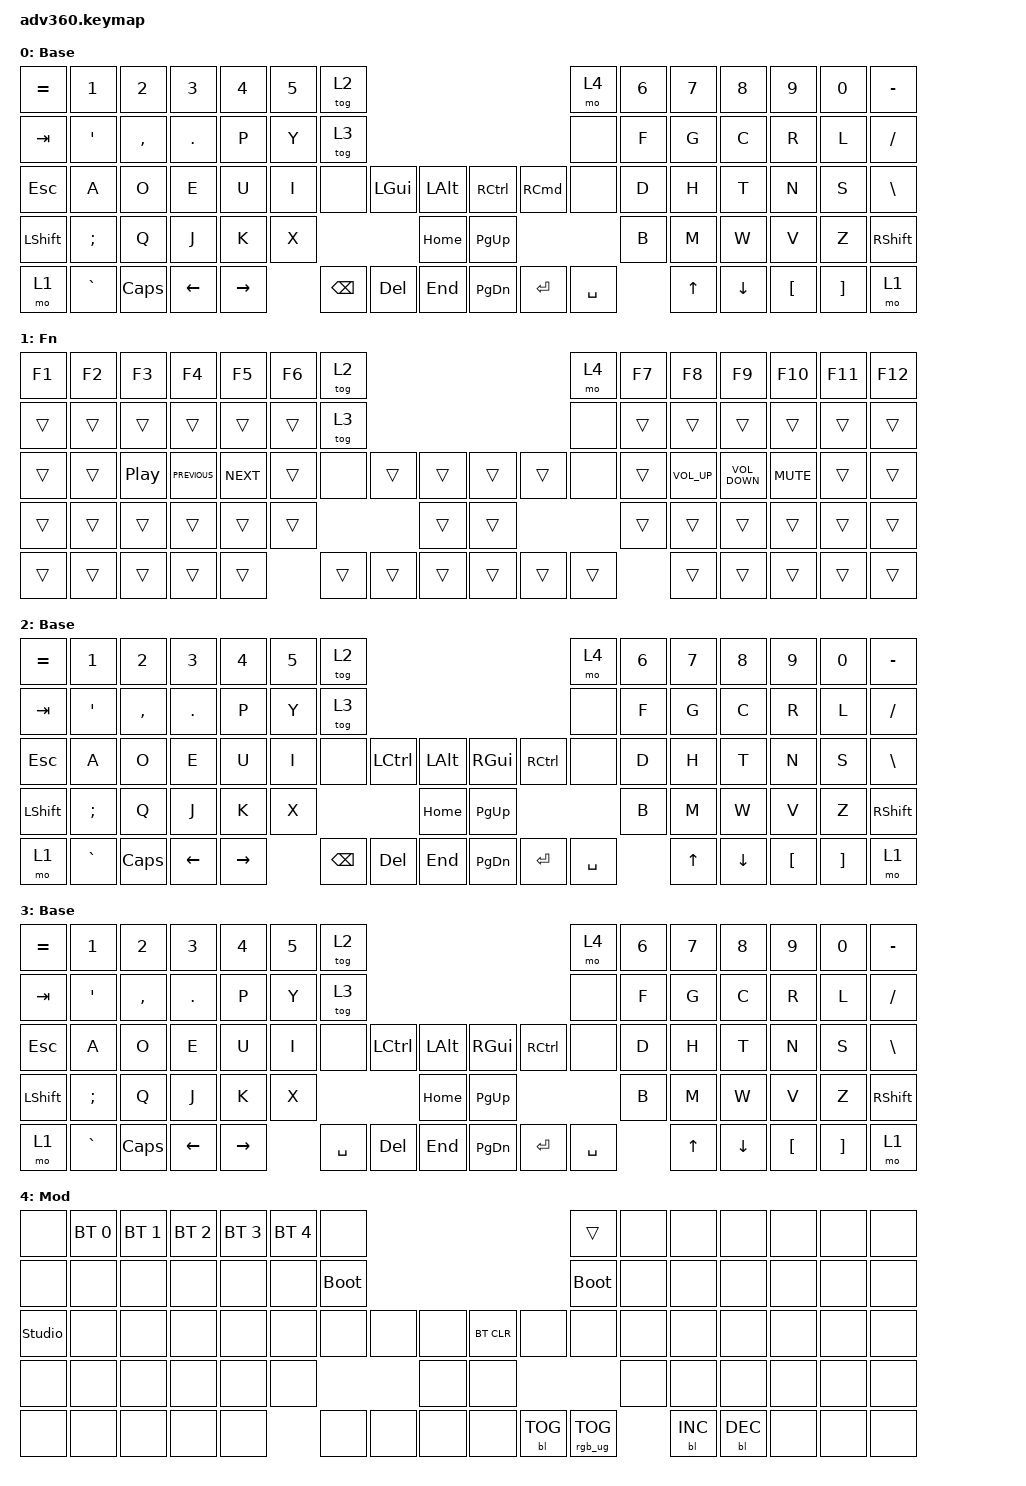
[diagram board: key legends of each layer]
#include <dt-bindings/zmk/stp.h>
#include <behaviors.dtsi>
#include <dt-bindings/zmk/backlight.h>
#include <dt-bindings/zmk/bt.h>
#include <dt-bindings/zmk/keys.h>
#include <dt-bindings/zmk/rgb.h>

/ {
    behaviors {
        #include "macros.dtsi"
      #include "version.dtsi"

        hm: homerow_mods {
            compatible = "zmk,behavior-hold-tap";
            label = "HOMEROW_MODS";
            #binding-cells = <2>;
            tapping-term-ms = <200>;
            quick_tap_ms = <175>;
            flavor = "tap-preferred";
            bindings = <&kp>, <&kp>;
        };
    };

    keymap {
        compatible = "zmk,keymap";

        dvorak_mac {
            display-name = "Base";
            bindings = <
&kp EQUAL  &kp N1         &kp N2     &kp N3      &kp N4     &kp N5  &tog 2                                                                      &mo 4      &kp N6  &kp N7  &kp N8    &kp N9    &kp N0    &kp MINUS
&kp TAB    &kp SQT        &kp COMMA  &kp PERIOD  &kp P      &kp Y   &tog 3                                                                      &none      &kp F   &kp G   &kp C     &kp R     &kp L     &kp SLASH
&kp ESC    &kp A          &kp O      &kp E       &kp U      &kp I   &none     &kp LEFT_GUI  &kp LALT      &kp RIGHT_CONTROL  &kp RIGHT_COMMAND  &none      &kp D   &kp H   &kp T     &kp N     &kp S     &kp BACKSLASH
&kp LSHFT  &kp SEMICOLON  &kp Q      &kp J       &kp K      &kp X                           &kp HOME      &kp PG_UP                                        &kp B   &kp M   &kp W     &kp V     &kp Z     &kp RSHFT
&mo 1      &kp GRAVE      &kp CAPS   &kp LEFT    &kp RIGHT          &kp BSPC  &kp DEL       &kp END       &kp PG_DN          &kp ENTER          &kp SPACE          &kp UP  &kp DOWN  &kp LBKT  &kp RBKT  &mo 1
            >;
        };

        fn {
            display-name = "Fn";
            bindings = <
&kp F1  &kp F2  &kp F3            &kp F4          &kp F5      &kp F6  &tog 2                                      &mo 4   &kp F7  &kp F8           &kp F9             &kp F10     &kp F11  &kp F12
&trans  &trans  &trans            &trans          &trans      &trans  &tog 3                                      &none   &trans  &trans           &trans             &trans      &trans   &trans
&trans  &trans  &kp C_PLAY_PAUSE  &kp C_PREVIOUS  &kp C_NEXT  &trans  &none   &trans  &trans      &trans  &trans  &none   &trans  &kp C_VOLUME_UP  &kp C_VOLUME_DOWN  &kp C_MUTE  &trans   &trans
&trans  &trans  &trans            &trans          &trans      &trans                  &trans      &trans                  &trans  &trans           &trans             &trans      &trans   &trans
&trans  &trans  &trans            &trans          &trans              &trans  &trans  &trans      &trans  &trans  &trans          &trans           &trans             &trans      &trans   &trans
            >;
        };

        dvorak_windows {
            display-name = "Base";
            bindings = <
&kp EQUAL  &kp N1         &kp N2     &kp N3      &kp N4     &kp N5  &tog 2                                                                          &mo 4      &kp N6  &kp N7  &kp N8    &kp N9    &kp N0    &kp MINUS
&kp TAB    &kp SQT        &kp COMMA  &kp PERIOD  &kp P      &kp Y   &tog 3                                                                          &none      &kp F   &kp G   &kp C     &kp R     &kp L     &kp SLASH
&kp ESC    &kp A          &kp O      &kp E       &kp U      &kp I   &none     &kp LEFT_CONTROL  &kp LEFT_ALT      &kp RIGHT_GUI  &kp RIGHT_CONTROL  &none      &kp D   &kp H   &kp T     &kp N     &kp S     &kp BACKSLASH
&kp LSHFT  &kp SEMICOLON  &kp Q      &kp J       &kp K      &kp X                               &kp HOME          &kp PG_UP                                    &kp B   &kp M   &kp W     &kp V     &kp Z     &kp RSHFT
&mo 1      &kp GRAVE      &kp CAPS   &kp LEFT    &kp RIGHT          &kp BSPC  &kp DEL           &kp END           &kp PG_DN      &kp ENTER          &kp SPACE          &kp UP  &kp DOWN  &kp LBKT  &kp RBKT  &mo 1
            >;
        };

        windows_gaming {
            display-name = "Base";
            bindings = <
&kp EQUAL  &kp N1         &kp N2     &kp N3      &kp N4     &kp N5  &tog 2                                                                       &mo 4      &kp N6  &kp N7  &kp N8    &kp N9    &kp N0    &kp MINUS
&kp TAB    &kp SQT        &kp COMMA  &kp PERIOD  &kp P      &kp Y   &tog 3                                                                       &none      &kp F   &kp G   &kp C     &kp R     &kp L     &kp SLASH
&kp ESC    &kp A          &kp O      &kp E       &kp U      &kp I   &none      &kp LEFT_CONTROL  &kp LALT      &kp RIGHT_GUI  &kp RIGHT_CONTROL  &none      &kp D   &kp H   &kp T     &kp N     &kp S     &kp BACKSLASH
&kp LSHFT  &kp SEMICOLON  &kp Q      &kp J       &kp K      &kp X                                &kp HOME      &kp PG_UP                                    &kp B   &kp M   &kp W     &kp V     &kp Z     &kp RSHFT
&mo 1      &kp GRAVE      &kp CAPS   &kp LEFT    &kp RIGHT          &kp SPACE  &kp DEL           &kp END       &kp PG_DN      &kp ENTER          &kp SPACE          &kp UP  &kp DOWN  &kp LBKT  &kp RBKT  &mo 1
            >;
        };

        mod {
            display-name = "Mod";
            bindings = <
&none           &bt BT_SEL 0  &bt BT_SEL 1  &bt BT_SEL 2  &bt BT_SEL 3  &bt BT_SEL 4  &none                                                  &trans           &none  &none       &none       &none  &none  &none
&none           &none         &none         &none         &none         &none         &bootloader                                            &bootloader      &none  &none       &none       &none  &none  &none
&studio_unlock  &none         &none         &none         &none         &none         &none        &none  &none      &bt BT_CLR  &none       &none            &none  &none       &none       &none  &none  &none
&none           &none         &none         &none         &none         &none                             &none      &none                                    &none  &none       &none       &none  &none  &none
&none           &none         &none         &none         &none                       &none        &none  &none      &none       &bl BL_TOG  &rgb_ug RGB_TOG         &bl BL_INC  &bl BL_DEC  &none  &none  &none
            >;
        };

        extra1 {
            display-name = "Red";
            status = "reserved";
        };

        extra2 {
            display-name = "Purple";
            status = "reserved";
        };

        extra3 {
            display-name = "Cyan";
            status = "reserved";
        };

        extra4 {
            display-name = "Yellow";
            status = "reserved";
        };
    };
};
